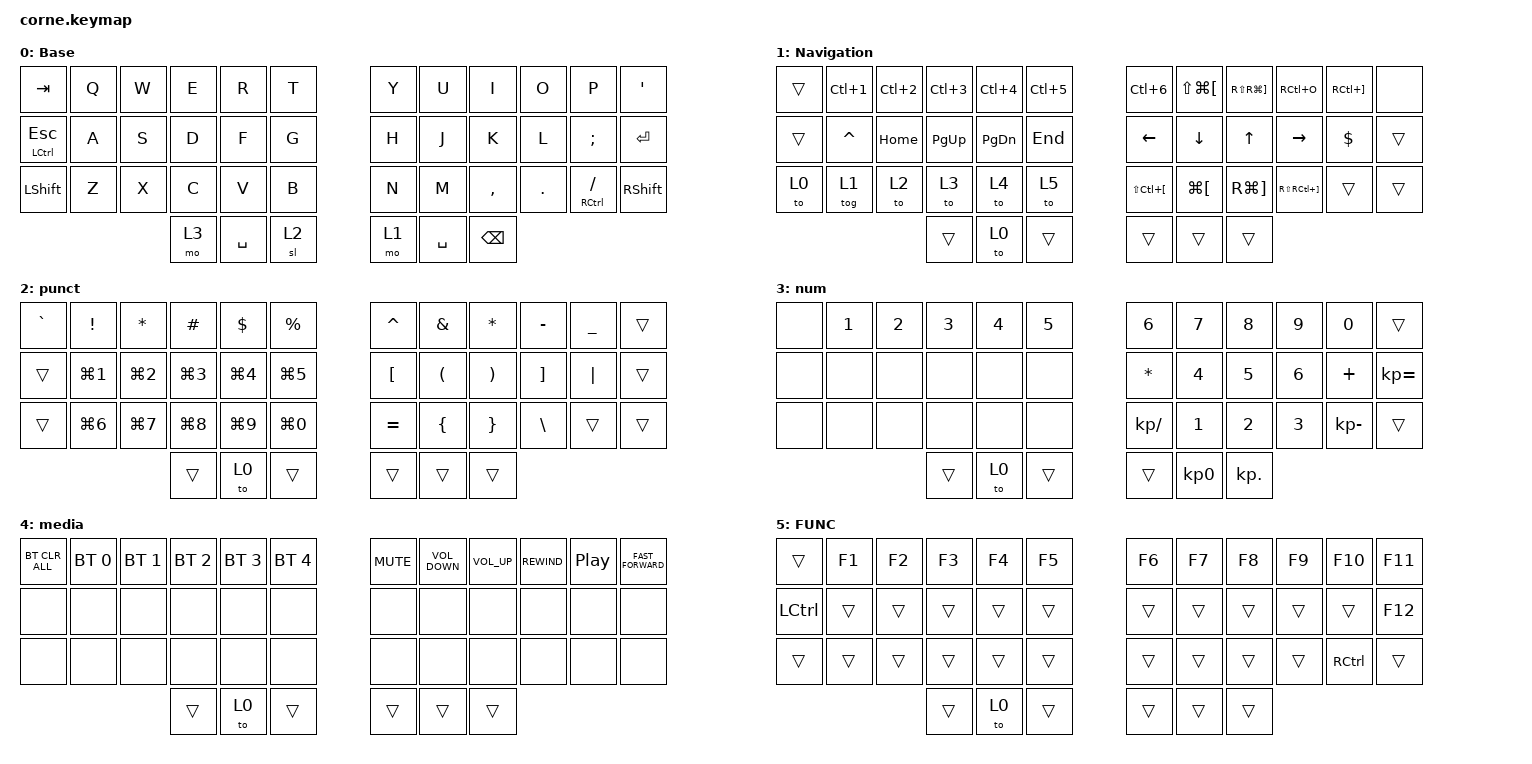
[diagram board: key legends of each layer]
/*
 * Copyright (c) 2020 The ZMK Contributors
 *
 * SPDX-License-Identifier: MIT
 */

#include <behaviors.dtsi>
#include <dt-bindings/zmk/bt.h>
#include <dt-bindings/zmk/keys.h>

&mt { tapping-term-ms = <500>; };

/ {
    combos {
        compatible = "zmk,combos";

        LGUI_COMBO {
            bindings = <&kp LGUI>;
            key-positions = <38 37>;
        };

        RGUI_COMBO {
            bindings = <&kp RGUI>;
            key-positions = <39 40>;
        };

        LALT_COMBO {
            bindings = <&kp LEFT_ALT>;
            key-positions = <36 37>;
        };

        RALT_COMBO {
            bindings = <&kp RALT>;
            key-positions = <40 41>;
        };

        EscapeCombo {
            bindings = <&kp ESCAPE>;
            key-positions = <19 20>;
        };
    };

    keymap {
        compatible = "zmk,keymap";

        default_layer {
            // -----------------------------------------------------------------------------------------
            // |  TAB |  Q  |  W  |  E  |  R  |  T  |   |  Y  |  U   |  I  |  O  |  P  | BKSP |
            // | CTRL |  A  |  S  |  D  |  F  |  G  |   |  H  |  J   |  K  |  L  |  ;  |  '   |
            // | SHFT |  Z  |  X  |  C  |  V  |  B  |   |  N  |  M   |  ,  |  .  |  /  | ESC  |
            //                    | GUI | LWR | SPC |   | ENT | RSE  | ALT |

            label = "Base";
            bindings = <
&kp TAB           &kp Q  &kp W  &kp E  &kp R      &kp T    &kp Y  &kp U      &kp I          &kp O    &kp P           &kp SQT
&mt LCTRL ESCAPE  &kp A  &kp S  &kp D  &kp F      &kp G    &kp H  &kp J      &kp K          &kp L    &kp SEMI        &kp ENTER
&kp LEFT_SHIFT    &kp Z  &kp X  &kp C  &kp V      &kp B    &kp N  &kp M      &kp COMMA      &kp DOT  &mt RCTRL FSLH  &kp RIGHT_SHIFT
                                &mo 3  &kp SPACE  &sl 2    &mo 1  &kp SPACE  &kp BACKSPACE
            >;
        };

        nav_layer {
            // -----------------------------------------------------------------------------------------
            // |  TAB |  1  |  2  |  3  |  4  |  5  |   |  6  |  7  |  8  |  9  |  0  | BKSP |
            // | BTCLR| BT1 | BT2 | BT3 | BT4 | BT5 |   | LFT | DWN |  UP | RGT |     |      |
            // | SHFT |     |     |     |     |     |   |     |     |     |     |     |      |
            //                    | GUI |     | SPC |   | ENT |     | ALT |

            label = "Navigation";
            bindings = <
&trans  &kp LC(NUMBER_1)  &kp LC(NUMBER_2)  &kp LC(NUMBER_3)  &kp LC(NUMBER_4)  &kp LC(NUMBER_5)    &kp LC(NUMBER_6)          &kp LS(LG(LEFT_BRACKET))  &kp RS(RG(RIGHT_BRACKET))  &kp RC(O)                  &kp RC(RIGHT_BRACKET)  &none
&trans  &kp CARET         &kp HOME          &kp PG_UP         &kp PAGE_DOWN     &kp END             &kp LEFT                  &kp DOWN                  &kp UP_ARROW               &kp RIGHT                  &kp DOLLAR             &trans
&to 0   &tog 1            &to 2             &to 3             &to 4             &to 5               &kp LS(LC(LEFT_BRACKET))  &kp LG(LEFT_BRACKET)      &kp RG(RIGHT_BRACKET)      &kp RS(RC(RIGHT_BRACKET))  &trans                 &trans
                                            &trans            &to 0             &trans              &trans                    &trans                    &trans
            >;
        };

        punct {
            bindings = <
&kp GRAVE  &kp EXCL          &kp ASTERISK      &kp HASH          &kp DOLLAR        &kp PERCENT    &kp CARET         &kp AMPERSAND         &kp ASTERISK           &kp MINUS          &kp UNDERSCORE  &trans
&trans     &kp LG(NUMBER_1)  &kp LG(NUMBER_2)  &kp LG(NUMBER_3)  &kp LG(NUMBER_4)  &kp LG(N5)     &kp LEFT_BRACKET  &kp LEFT_PARENTHESIS  &kp RIGHT_PARENTHESIS  &kp RIGHT_BRACKET  &kp PIPE        &trans
&trans     &kp LG(NUMBER_6)  &kp LG(N7)        &kp LG(N8)        &kp LG(N9)        &kp LG(N0)     &kp EQUAL         &kp LEFT_BRACE        &kp RIGHT_BRACE        &kp BACKSLASH      &trans          &trans
                                               &trans            &to 0             &trans         &trans            &trans                &trans
            >;

            label = "punct";
        };

        num {
            bindings = <
&none  &kp N1  &kp N2  &kp N3  &kp N4  &kp N5    &kp N6         &kp N7           &kp N8      &kp N9  &kp N0           &trans
&none  &none   &none   &none   &none   &none     &kp ASTERISK   &kp N4           &kp N5      &kp N6  &kp PLUS         &kp KP_EQUAL
&none  &none   &none   &none   &none   &none     &kp KP_DIVIDE  &kp N1           &kp N2      &kp N3  &kp KP_SUBTRACT  &trans
                       &trans  &to 0   &trans    &trans         &kp KP_NUMBER_0  &kp KP_DOT
            >;

            label = "num";
        };

        media {
            bindings = <
&bt BT_CLR_ALL  &bt BT_SEL 0  &bt BT_SEL 1  &bt BT_SEL 2  &bt BT_SEL 3  &bt BT_SEL 4    &kp C_MUTE  &kp C_VOLUME_DOWN  &kp C_VOLUME_UP  &kp C_REWIND  &kp C_PP  &kp C_FAST_FORWARD
&none           &none         &none         &none         &none         &none           &none       &none              &none            &none         &none     &none
&none           &none         &none         &none         &none         &none           &none       &none              &none            &none         &none     &none
                                            &trans        &to 0         &trans          &trans      &trans             &trans
            >;

            label = "media";
        };

        func {
            bindings = <
&trans     &kp F1  &kp F2  &kp F3  &kp F4  &kp F5    &kp F6  &kp F7  &kp F8  &kp F9  &kp F10    &kp F11
&kp LCTRL  &trans  &trans  &trans  &trans  &trans    &trans  &trans  &trans  &trans  &trans     &kp F12
&trans     &trans  &trans  &trans  &trans  &trans    &trans  &trans  &trans  &trans  &kp RCTRL  &trans
                           &trans  &to 0   &trans    &trans  &trans  &trans
            >;

            label = "FUNC";
        };
    };
};
